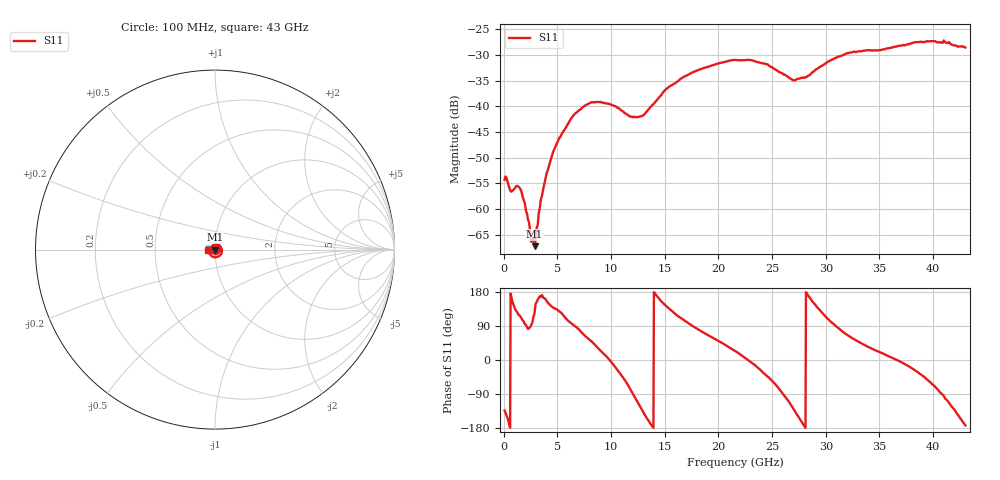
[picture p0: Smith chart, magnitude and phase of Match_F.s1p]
# Hz S RI R 50.000000
! Metas.Vna.Tools, 2.9.9438.25149
! Metas.Vna.Data, 2.9.9438.25100
! Created: UTC 2026.07.06 09:03:36
! FREQ  re:S1,1  im:S1,1
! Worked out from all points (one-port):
!   1001 points, 100 MHz to 43 GHz, reference 50 ohm
!   lowest |S11| = -67.3 dB at 2.889 GHz (marker M1), VSWR 1.00, Z = 50 + j0.0359 ohm
!   |S11| at or under -10 dB: start of sweep to end of sweep
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1e8  -0.00132 -0.00139
7.006e8  -0.00145 0.000265
1.5157e9  -0.000719 0.00142
1.9876e9  -8.66e-05 0.00113
2.674e9  -6.78e-05 0.00049
2.8885e9  -0.000242 0.000359
3.0601e9  -0.000546 0.000295
3.532e9  -0.00127 0.000225
4.0897e9  -0.00208 0.00106
4.7332e9  -0.00278 0.00264
5.4625e9  -0.00285 0.00465
6.535e9  -0.0003 0.0082
7.9936e9  0.00631 0.00862
9.1519e9  0.0101 0.00393
1.0825e10  0.00769 -0.00531
1.18975e10  0.0011 -0.00783
1.28842e10  -0.00529 -0.00606
1.5115e10  -0.0117 0.00871
1.61875e10  -0.00784 0.0155
1.83754e10  0.00543 0.0224
2.155e10  0.0258 0.0115
2.44243e10  0.0198 -0.0164
2.69125e10  -0.0104 -0.0147
2.81995e10  -0.0192 0.000912
3.2275e10  0.016 0.0292
3.76375e10  0.0387 -0.0106
3.9997e10  0.0176 -0.0393
4.3e10  -0.037 -0.00483
